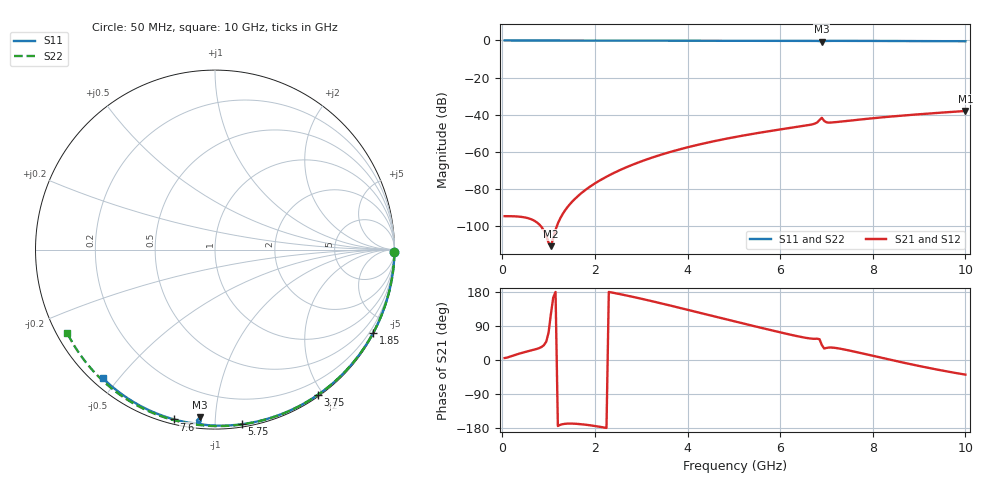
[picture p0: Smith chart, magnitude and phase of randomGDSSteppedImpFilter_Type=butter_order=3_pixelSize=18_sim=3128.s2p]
! freq	dB(S11)	phase(S11)	dB(S12)	phase(S12)
!  dB(S21)	phase(S21)	dB(S22)	phase(S22)
!S-par simulation data
#  GHz  S  DB  R 50
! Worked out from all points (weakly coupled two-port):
!   200 points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, 50 MHz to 10 GHz, reference 50 ohm
!   highest |S21| = -38.04 dB at 10 GHz (marker M1); lowest = -111.0 dB at 1.05 GHz (marker M2)
!   lowest |S11| = -0.6 dB at 6.9 GHz (marker M3), VSWR 30.35, Z = 3.02 - j45.6 ohm
!   |S11| at or under -10 dB: nowhere
!   |S22| runs from -0.5 to 0.0 dB; largest |S21 - S12| = 0
!   S11 on the Smith chart (normalised r, x): 50 MHz: open; 1.85 GHz: 0.04, -4.07; 3.75 GHz: 0.02, -1.93; 5.75 GHz: 0.02, -1.17; 7.6 GHz: 0.02, -0.79; 10 GHz: 0.03, -0.45
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0.05  -0.00 -0.8  -94.77 5.2  -94.77 5.2  -0.00 -0.9
1.05  -0.02 -15.8  -110.97 121.5  -110.97 121.5  -0.02 -18.2
1.75  -0.03 -26.2  -81.49 -170.1  -81.49 -170.1  -0.04 -30.1
1.85  -0.04 -27.6  -79.62 -171.6  -79.62 -171.6  -0.04 -31.8
2.15  -0.04 -32.0  -74.88 -177.1  -74.88 -177.1  -0.05 -36.8
2.5  -0.05 -37.1  -70.39 174.9  -70.39 174.9  -0.05 -42.6
2.9  -0.06 -42.8  -66.17 164.5  -66.17 164.5  -0.06 -49.1
3.4  -0.07 -49.8  -61.84 150.4  -61.84 150.4  -0.08 -57.1
3.75  -0.07 -54.7  -59.29 140.0  -59.29 140.0  -0.08 -62.6
4.35  -0.09 -62.9  -55.55 122.0  -55.55 122.0  -0.10 -71.9
5.05  -0.11 -72.1  -51.98 100.9  -51.98 100.9  -0.13 -82.4
5.75  -0.14 -81.2  -48.98 80.2  -48.98 80.2  -0.16 -92.6
6.7  -0.20 -93.5  -45.22 56.1  -45.22 56.1  -0.21 -106.0
6.8  -0.25 -95.1  -44.22 56.2  -44.22 56.2  -0.21 -107.4
6.85  -0.37 -96.0  -42.92 54.8  -42.92 54.8  -0.22 -108.1
6.9  -0.57 -95.2  -41.71 39.5  -41.71 39.5  -0.22 -108.7
6.95  -0.36 -94.7  -43.39 30.5  -43.39 30.5  -0.22 -109.4
7  -0.26 -95.6  -44.16 31.8  -44.16 31.8  -0.22 -110.1
7.05  -0.23 -96.5  -44.31 32.8  -44.31 32.8  -0.23 -110.8
7.6  -0.24 -103.5  -42.98 22.2  -42.98 22.2  -0.27 -118.3
8.35  -0.29 -112.4  -41.14 1.4  -41.14 1.4  -0.33 -128.4
10  -0.44 -131.1  -38.04 -38.6  -38.04 -38.6  -0.49 -150.5
